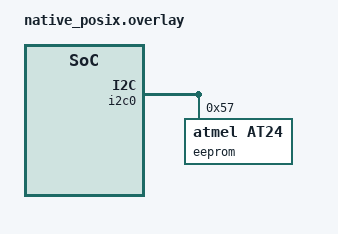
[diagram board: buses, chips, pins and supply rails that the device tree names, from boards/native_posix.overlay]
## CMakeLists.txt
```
#
# Copyright (c) 2019 Vestas Wind Systems A/S
#
# SPDX-License-Identifier: Apache-2.0
#

cmake_minimum_required(VERSION 3.13.1)
find_package(Zephyr REQUIRED HINTS $ENV{ZEPHYR_BASE})
project(eeprom_api)

FILE(GLOB app_sources src/*.c)
target_sources(app PRIVATE ${app_sources})
```

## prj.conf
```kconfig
CONFIG_ZTEST=y
CONFIG_TEST_USERSPACE=y
CONFIG_EEPROM=y
```

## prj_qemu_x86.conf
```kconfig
CONFIG_ZTEST=y
CONFIG_TEST_USERSPACE=y
CONFIG_EEPROM=y
CONFIG_EEPROM_SIMULATOR=y
CONFIG_EEPROM_EMULATOR=y
```

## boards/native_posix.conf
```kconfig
# Copyright (c) 2020 Nordic Semiconductor ASA
# SPDX-License-Identifier: Apache-2.0

CONFIG_EMUL=y
CONFIG_I2C=y
CONFIG_I2C_EMUL=y
CONFIG_EEPROM_AT24=y
CONFIG_EMUL_EEPROM_AT2X=y
```

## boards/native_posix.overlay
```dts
/* Copyright (c) 2020 Nordic Semiconductor ASA
 * SPDX-License-Identifier: Apache-2.0
 */

/ {
	aliases {
		eeprom-1 = &i2c_eeprom;
	};
};

&i2c0 {
	i2c_eeprom: eeprom@57 {
		compatible = "atmel,at24";
		reg = <0x57>;
		label = "eeprom";
		size = <256>;
		pagesize = <8>;
		address-width = <8>;
		timeout = <5>;
	};
};
```

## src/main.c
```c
/*
 * Copyright (c) 2019 Vestas Wind Systems A/S
 *
 * SPDX-License-Identifier: Apache-2.0
 */

#include <ztest.h>
#include <ztest_test.h>
#include <drivers/eeprom.h>
#include <device.h>

/* There is no obvious way to pass this to tests, so use a global */
ZTEST_BMEM static const char *eeprom_label;

/* Test retrieval of eeprom size */
static void test_size(void)
{
	const struct device *eeprom;
	size_t size;

	eeprom = device_get_binding(eeprom_label);

	size = eeprom_get_size(eeprom);
	zassert_not_equal(0, size, "Unexpected size of zero bytes");
}

/* Test write outside eeprom area */
static void test_out_of_bounds(void)
{
	const uint8_t data[4] = { 0x01, 0x02, 0x03, 0x03 };
	const struct device *eeprom;
	size_t size;
	int rc;

	eeprom = device_get_binding(eeprom_label);
	size = eeprom_get_size(eeprom);

	rc = eeprom_write(eeprom, size - 1, data, sizeof(data));
	zassert_equal(-EINVAL, rc, "Unexpected error code (%d)", rc);
}

/* Test write and rewrite */
static void test_write_rewrite(void)
{
	const uint8_t wr_buf1[4] = { 0xFF, 0xEE, 0xDD, 0xCC };
	const uint8_t wr_buf2[sizeof(wr_buf1)] = { 0xAA, 0xBB, 0xCC, 0xDD };
	uint8_t rd_buf[sizeof(wr_buf1)];
	const struct device *eeprom;
	size_t size;
	off_t address;
	int rc;

	eeprom = device_get_binding(eeprom_label);
	size = eeprom_get_size(eeprom);

	address = 0;
	while (address < MIN(size, 16)) {
		rc = eeprom_write(eeprom, address, wr_buf1, sizeof(wr_buf1));
		zassert_equal(0, rc, "Unexpected error code (%d)", rc);

		rc = eeprom_read(eeprom, address, rd_buf, sizeof(rd_buf));
		zassert_equal(0, rc, "Unexpected error code (%d)", rc);

		rc = memcmp(wr_buf1, rd_buf, sizeof(wr_buf1));
		zassert_equal(0, rc, "Unexpected error code (%d)", rc);

		address += sizeof(wr_buf1);
	}

	address = 0;
	while (address < MIN(size, 16)) {
		rc = eeprom_write(eeprom, address, wr_buf2, sizeof(wr_buf2));
		zassert_equal(0, rc, "Unexpected error code (%d)", rc);

		rc = eeprom_read(eeprom, address, rd_buf, sizeof(rd_buf));
		zassert_equal(0, rc, "Unexpected error code (%d)", rc);

		rc = memcmp(wr_buf2, rd_buf, sizeof(wr_buf2));
		zassert_equal(0, rc, "Unexpected error code (%d)", rc);

		address += sizeof(wr_buf2);
	}
}

/* Test write at fixed address */
static void test_write_at_fixed_address(void)
{
	const uint8_t wr_buf1[4] = { 0xFF, 0xEE, 0xDD, 0xCC };
	uint8_t rd_buf[sizeof(wr_buf1)];
	const struct device *eeprom;
	size_t size;
	const off_t address = 0;
	int rc;

	eeprom = device_get_binding(eeprom_label);
	size = eeprom_get_size(eeprom);

	for (int i = 0; i < 16; i++) {
		rc = eeprom_write(eeprom, address, wr_buf1, sizeof(wr_buf1));
		zassert_equal(0, rc, "Unexpected error code (%d)", rc);

		rc = eeprom_read(eeprom, address, rd_buf, sizeof(rd_buf));
		zassert_equal(0, rc, "Unexpected error code (%d)", rc);

		rc = memcmp(wr_buf1, rd_buf, sizeof(wr_buf1));
		zassert_equal(0, rc, "Unexpected error code (%d)", rc);
	}
}

/* Test write one byte at a time */
static void test_write_byte(void)
{
	const uint8_t wr = 0x00;
	uint8_t rd = 0xff;
	const struct device *eeprom;
	int rc;

	eeprom = device_get_binding(eeprom_label);

	for (off_t address = 0; address < 16; address++) {
		rc = eeprom_write(eeprom, address, &wr, 1);
		zassert_equal(0, rc, "Unexpected error code (%d)", rc);

		rc = eeprom_read(eeprom, address, &rd, 1);
		zassert_equal(0, rc, "Unexpected error code (%d)", rc);

		zassert_equal(wr - rd, rc, "Unexpected error code (%d)", rc);
	}
}

/* Test write a pattern of bytes at increasing address */
static void test_write_at_increasing_address(void)
{
	const uint8_t wr_buf1[8] = {0xEE, 0xDD, 0xCC, 0xBB, 0xFF, 0xEE, 0xDD,
				    0xCC };
	uint8_t rd_buf[sizeof(wr_buf1)];
	const struct device *eeprom;
	int rc;

	eeprom = device_get_binding(eeprom_label);

	for (off_t address = 0; address < 4; address++) {
		rc = eeprom_write(eeprom, address, wr_buf1, sizeof(wr_buf1));
		zassert_equal(0, rc, "Unexpected error code (%d)", rc);

		rc = eeprom_read(eeprom, address, rd_buf, sizeof(rd_buf));
		zassert_equal(0, rc, "Unexpected error code (%d)", rc);

		rc = memcmp(wr_buf1, rd_buf, sizeof(wr_buf1));
		zassert_equal(0, rc, "Unexpected error code (%d)", rc);
	}
}

/* Test writing zero length data */
static void test_zero_length_write(void)
{
	const uint8_t wr_buf1[4] = { 0x10, 0x20, 0x30, 0x40 };
	const uint8_t wr_buf2[sizeof(wr_buf1)] = { 0xAA, 0xBB, 0xCC, 0xDD };
	uint8_t rd_buf[sizeof(wr_buf1)];
	const struct device *eeprom;
	int rc;

	eeprom = device_get_binding(eeprom_label);

	rc = eeprom_write(eeprom, 0, wr_buf1, sizeof(wr_buf1));
	zassert_equal(0, rc, "Unexpected error code (%d)", rc);

	rc = eeprom_read(eeprom, 0, rd_buf, sizeof(rd_buf));
	zassert_equal(0, rc, "Unexpected error code (%d)", rc);

	rc = memcmp(wr_buf1, rd_buf, sizeof(wr_buf1));
	zassert_equal(0, rc, "Unexpected error code (%d)", rc);

	rc = eeprom_write(eeprom, 0, wr_buf2, 0);
	zassert_equal(0, rc, "Unexpected error code (%d)", rc);

	rc = eeprom_read(eeprom, 0, rd_buf, sizeof(rd_buf));
	zassert_equal(0, rc, "Unexpected error code (%d)", rc);

	rc = memcmp(wr_buf1, rd_buf, sizeof(wr_buf1));
	zassert_equal(0, rc, "Unexpected error code (%d)", rc);
}

/* Run all of our tests on EEPROM device with the given label */
static void run_tests_on_eeprom(const char *label)
{
	const struct device *eeprom = device_get_binding(label);

	zassert_not_null(eeprom, "Unable to get EEPROM device");
	k_object_access_grant(eeprom, k_current_get());
	eeprom_label = label;
	ztest_test_suite(eeprom_api,
			 ztest_user_unit_test(test_size),
			 ztest_user_unit_test(test_out_of_bounds),
			 ztest_user_unit_test(test_write_rewrite),
			 ztest_user_unit_test(test_write_at_fixed_address),
			 ztest_user_unit_test(test_write_byte),
			 ztest_user_unit_test(test_write_at_increasing_address),
			 ztest_user_unit_test(test_zero_length_write));
	ztest_run_test_suite(eeprom_api);
}

void test_main(void)
{
	run_tests_on_eeprom(DT_LABEL(DT_ALIAS(eeprom_0)));

#ifdef DT_N_ALIAS_eeprom_1
	run_tests_on_eeprom(DT_LABEL(DT_ALIAS(eeprom_1)));
#endif

}
```
